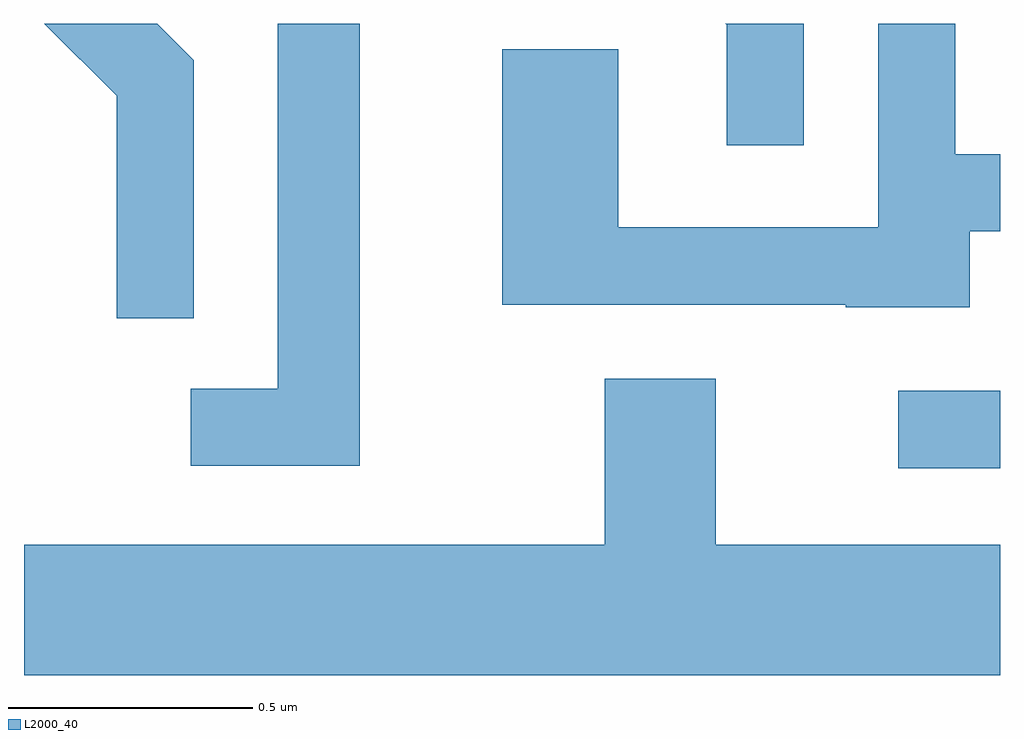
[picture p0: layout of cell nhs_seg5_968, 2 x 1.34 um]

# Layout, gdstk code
import gdstk
lib = gdstk.Library(unit=1e-6, precision=1e-09)
def R(c, l, rs):  # rectangles x0, y0, x1, y1
    for r in rs: c.add(gdstk.rectangle(r[:2], r[2:], *l))
def P(c, l, *ps):  # polygons
    for p in ps: c.add(gdstk.Polygon(p, *l))
L2000_40 = (2000, 40)

nhs_seg5_968 = lib.new_cell('nhs_seg5_968')
R(nhs_seg5_968, L2000_40, [(194.403,1406.161,194.611,1406.319)])
P(nhs_seg5_968, L2000_40, [(194.549,1406.646),(194.611,1406.646),(194.611,1406.804),(194.519,1406.804),(194.519,1407.072),(194.361,1407.072),(194.361,1406.654),(193.829,1406.654),(193.829,1407.019),(193.591,1407.019),(193.591,1406.496),(194.295,1406.496),(194.295,1406.491),(194.549,1406.491)],
  [(193.299,1407.072),(193.131,1407.072),(193.131,1406.324),(192.953,1406.324),(192.953,1406.166),(193.299,1406.166)],
  [(194.209,1407.072),(194.048,1407.072),(194.051,1407.069),(194.051,1406.823),(194.209,1406.823)],
  [(192.959,1406.997),(192.884,1407.072),(192.653,1407.072),(192.801,1406.924),(192.801,1406.468),(192.959,1406.468)],
  [(194.611,1406.004),(194.029,1406.004),(194.029,1406.344),(193.801,1406.344),(193.801,1406.004),(192.611,1406.004),(192.611,1405.736),(194.611,1405.736)])

lib.write_gds('nhs_seg5_968.gds')
